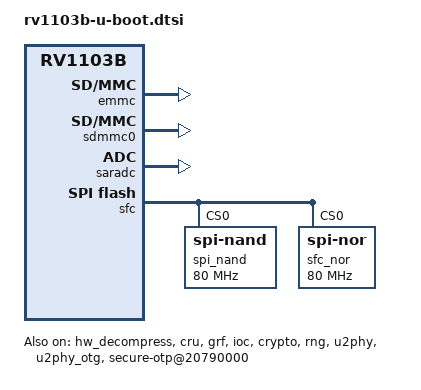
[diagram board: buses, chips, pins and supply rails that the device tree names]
/*
 * (C) Copyright 2024 Rockchip Electronics Co., Ltd
 *
 * SPDX-License-Identifier:     GPL-2.0+
 */

 / {
	aliases {
		mmc1 = &sdmmc0;
		mmc0 = &emmc;
	};

	chosen {
		stdout-path = &uart0;
		u-boot,spl-boot-order = &sdmmc0, &spi_nand, &spi_nor, &emmc;
	};

	secure-otp@20790000 {
		compatible = "rockchip,rv1103b-secure-otp";
		reg = <0x20790000 0x10000>;
		secure_conf = <0x20250018>;
		cru_rst_addr = <0x20000a20>;
		mask_addr = <0x209d0000>;
		u-boot,dm-spl;
		status = "okay";
	};
};

&hw_decompress {
	u-boot,dm-spl;
	status = "okay";
};

&emmc {
	u-boot,dm-spl;
	status = "okay";
};

&cru {
	u-boot,dm-spl;
	status = "okay";
};

&grf {
	u-boot,dm-spl;
	status = "okay";
};

&pinctrl {
	u-boot,dm-spl;
	status = "okay";
};

&sdmmc0 {
	u-boot,dm-spl;
	status = "okay";
};

&ioc {
	u-boot,dm-spl;
	status = "okay";
};

&gpio0 {
	u-boot,dm-spl;
	status = "okay";
};

&gpio1 {
	u-boot,dm-pre-reloc;
	status = "okay";
};

&gpio2 {
	u-boot,dm-pre-reloc;
	status = "okay";
};

&crypto {
	u-boot,dm-spl;
	status = "okay";
};

&rng {
	u-boot,dm-spl;
	status = "okay";
};

&saradc {
	u-boot,dm-pre-reloc;
	status = "okay";
};

&sfc {
	u-boot,dm-spl;
	status = "okay";

	#address-cells = <1>;
	#size-cells = <0>;
	spi_nand: flash@0 {
		u-boot,dm-spl;
		compatible = "spi-nand";
		reg = <0>;
		spi-tx-bus-width = <1>;
		spi-rx-bus-width = <4>;
		spi-max-frequency = <80000000>;
	};

	spi_nor: flash@1 {
		u-boot,dm-spl;
		compatible = "jedec,spi-nor";
		label = "sfc_nor";
		reg = <0>;
		spi-tx-bus-width = <1>;
		spi-rx-bus-width = <4>;
		spi-max-frequency = <80000000>;
	};
};

&u2phy {
	u-boot,dm-pre-reloc;
	status = "okay";
};

&u2phy_otg {
	u-boot,dm-pre-reloc;
	status = "okay";
};

